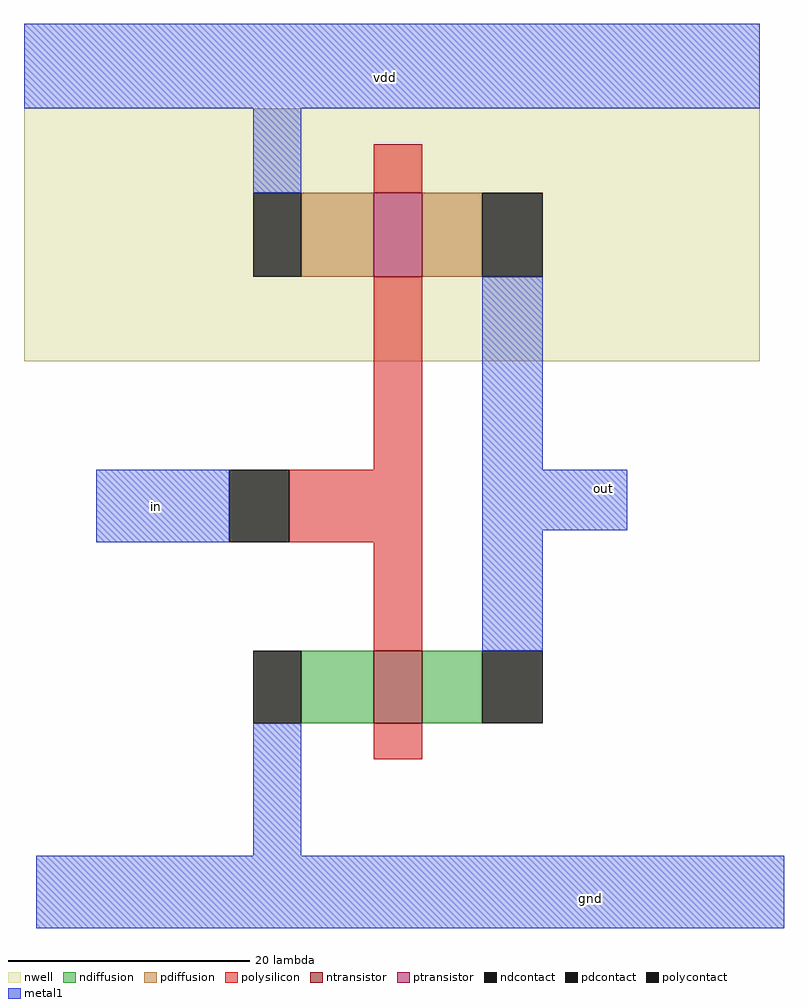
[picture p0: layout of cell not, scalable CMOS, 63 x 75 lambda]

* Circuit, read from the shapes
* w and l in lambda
.subckt not gnd in out vdd
M1 out in gnd VSUBS nfet w=6 l=4
M2 out in vdd n1 pfet w=7 l=4
.ends

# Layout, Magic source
magic
tech scmos
<< nwell >>
rect -15 38 46 59
<< ntransistor >>
rect 14 8 18 14
<< ptransistor >>
rect 14 45 18 52
<< ndiffusion >>
rect 8 8 14 14
rect 18 8 23 14
<< pdiffusion >>
rect 8 45 14 52
rect 18 45 23 52
<< ndcontact >>
rect 4 8 8 14
rect 23 8 28 14
<< pdcontact >>
rect 4 45 8 52
rect 23 45 28 52
<< polysilicon >>
rect 14 52 18 56
rect 14 29 18 45
rect 7 23 18 29
rect 14 14 18 23
rect 14 5 18 8
<< polycontact >>
rect 2 23 7 29
<< metal1 >>
rect -15 59 46 66
rect 4 52 8 59
rect 23 29 28 45
rect -9 23 2 29
rect 23 24 35 29
rect 23 14 28 24
rect 4 -3 8 8
rect -14 -9 48 -3
<< labels >>
rlabel metal1 14 61 16 62 5 vdd
rlabel metal1 32 27 34 28 1 out
rlabel metal1 31 -7 33 -6 1 gnd
rlabel metal1 -5 25 -3 27 1 in
<< end >>
